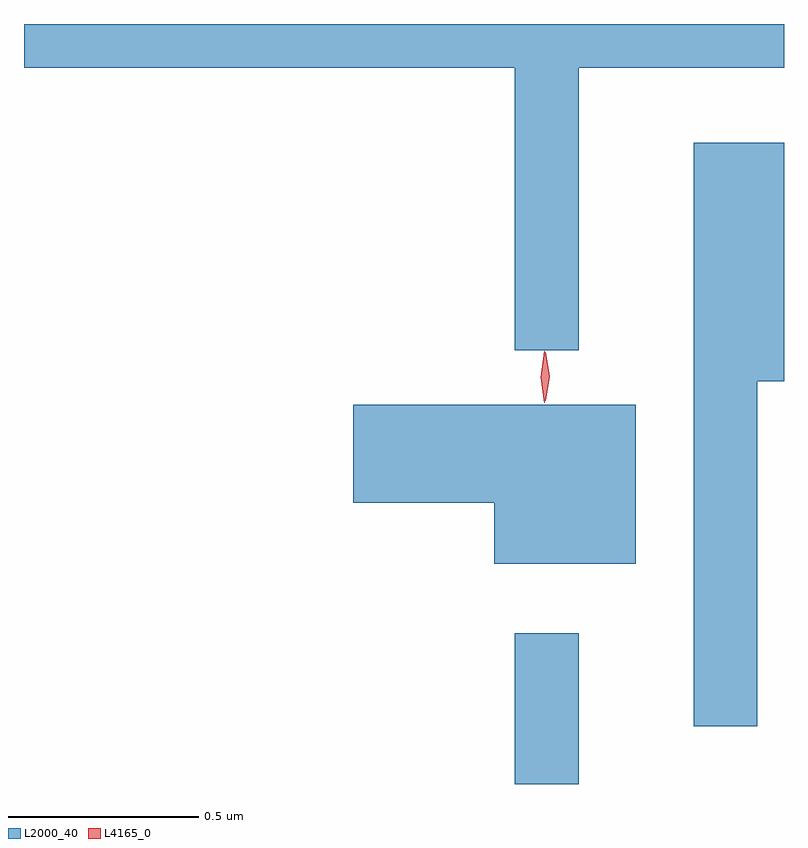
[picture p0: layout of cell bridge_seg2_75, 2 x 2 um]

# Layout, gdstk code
import gdstk
lib = gdstk.Library(unit=1e-6, precision=1e-09)
def R(c, l, rs):  # rectangles x0, y0, x1, y1
    for r in rs: c.add(gdstk.rectangle(r[:2], r[2:], *l))
def P(c, l, *ps):  # polygons
    for p in ps: c.add(gdstk.Polygon(p, *l))
L2000_40 = (2000, 40)
L4165_0 = (4165, 0)

bridge_seg2_75 = lib.new_cell('bridge_seg2_75')
R(bridge_seg2_75, L2000_40, [(1110.011,1064.191,1110.179,1064.588)])
P(bridge_seg2_75, L2000_40, [(1110.179,1066.076),(1110.719,1066.076),(1110.719,1066.191),(1108.719,1066.191),(1108.719,1066.076),(1110.011,1066.076),(1110.011,1065.333),(1110.179,1065.333)],
  [(1110.649,1065.251),(1110.719,1065.251),(1110.719,1065.879),(1110.481,1065.879),(1110.481,1064.343),(1110.649,1064.343)],
  [(1110.329,1065.189),(1109.586,1065.189),(1109.586,1064.931),(1109.956,1064.931),(1109.956,1064.771),(1110.329,1064.771)])
P(bridge_seg2_75, L4165_0, [(1110.091,1065.2),(1110.082,1065.264),(1110.091,1065.326),(1110.092,1065.327),(1110.092,1065.326),(1110.102,1065.264),(1110.092,1065.2),(1110.092,1065.2)],
  [(1110.088,1065.194),(1110.079,1065.262),(1110.088,1065.33),(1110.089,1065.33),(1110.089,1065.33),(1110.099,1065.262),(1110.089,1065.194),(1110.089,1065.194)])

lib.write_gds('bridge_seg2_75.gds')
